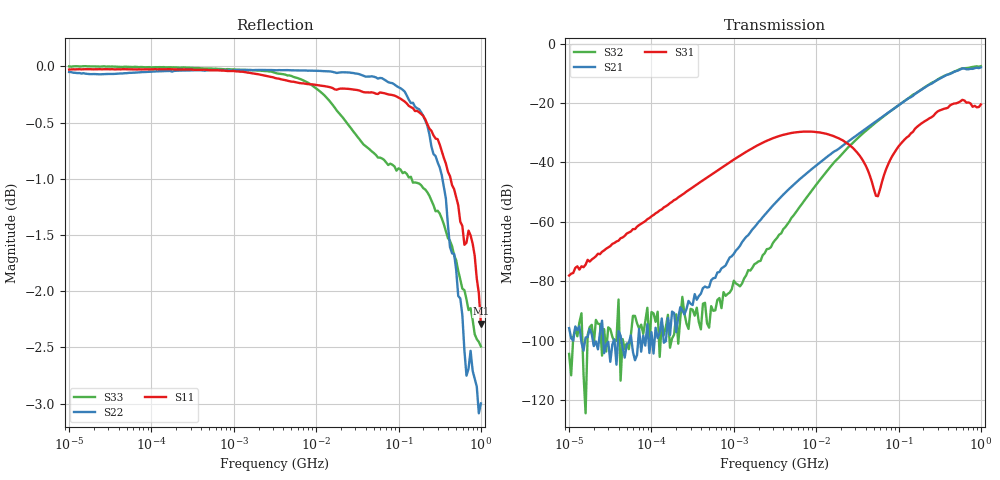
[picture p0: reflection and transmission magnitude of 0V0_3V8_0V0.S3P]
!Keysight Technologies,E5080A,MY55100144,A.11.70.03
!Date: Monday, November 13, 2017 17:25:02
!Correction: S11(Full 3 Port(1,2,3))
!S12(Full 3 Port(1,2,3))
!S13(Full 3 Port(1,2,3))
!S21(Full 3 Port(1,2,3))
!S22(Full 3 Port(1,2,3))
!S23(Full 3 Port(1,2,3))
!S31(Full 3 Port(1,2,3))
!S32(Full 3 Port(1,2,3))
!S33(Full 3 Port(1,2,3))
!S3P File: Measurements: <S11,S12,S13>,
!<S21,S22,S23>,
!<S31,S32,S33>:Log Frequency Sweep
# Hz S  RI  R 50
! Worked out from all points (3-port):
!   201 points, 10 kHz to 1 GHz, reference 50 ohm
!   strongest paths, dB at 10 kHz, 177.8 kHz, 3.162 MHz, 56.23 MHz, 1 GHz:
!     S31: -78.1, -53.3, -31.6, -51.4, -20.5
!     S21: -95.8, -90.2, -53.8, -25.7, -8.0
!     S32: -104.5, -99.3, -66.2, -26.0, -7.6
!   lowest |S11| = -2.3 dB at 1 GHz (marker M1), VSWR 7.63, Z = 381 + j0.67 ohm
!   |S11| at or under -10 dB: nowhere
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10000  0.9967 -0.00583  -7.8e-06 2.84e-06  1.58e-06 0.000124
       -1.04e-06 -1.63e-05  0.4708 -0.8757  -4.52e-06 1.12e-06
       -1.42e-06 0.000125  -4.28e-07 -5.97e-06  1 -0.00247
50118.72  0.9965 -0.0295  7.11e-07 -1.26e-05  2.48e-05 0.000634
          -8.57e-06 1.11e-06  -0.7913 -0.6  -1.52e-07 4.16e-06
          9.97e-06 0.000635  -7.08e-06 -5.54e-06  0.9996 -0.00564
562341.3  0.9435 -0.319  -6.69e-05 7.49e-05  0.00146 0.00639
          -7.54e-05 8.37e-05  -0.9946 -0.0576  -1.8e-05 4.48e-05
          0.00148 0.0064  -2.49e-06 3.17e-05  0.9961 -0.0543
3162278  0.0736 -0.9854  -0.0013 0.00159  0.0207 0.0163
         -0.00128 0.0016  -0.9962 0.00466  -0.000403 0.000267
         0.0207 0.0162  -0.000418 0.000258  0.9504 -0.2891
2.113489e7  -0.9463 -0.2451  -0.000908 0.0192  0.0187 -0.0142
            -0.000946 0.0192  -0.9891 0.0979  -0.00844 0.0116
            0.0187 -0.0141  -0.00845 0.0116  -0.0182 -0.9486
5.623413e7  -0.9702 0.0607  0.00916 0.051  0.00249 0.00108
            0.0092 0.051  -0.9531 0.2584  -0.00517 0.05
            0.00247 0.00109  -0.00511 0.0499  -0.761 -0.5005
1.059254e8  -0.9322 0.2585  0.0378 0.0893  0.00792 0.019
            0.0379 0.0894  -0.8606 0.4643  0.0233 0.0944
            0.00792 0.0189  0.0232 0.0944  -0.895 -0.091
3.758374e8  -0.3687 0.8267  0.2899 0.0331  0.0809 -0.00587
            0.2902 0.033  0.0974 0.868  0.2897 0.0577
            0.0809 -0.00593  0.2895 0.0578  -0.4869 0.6901
7.079458e8  0.464 0.7064  0.1986 -0.3127  0.0119 -0.1014
            0.1984 -0.313  0.6981 0.2258  0.2461 -0.3035
            0.012 -0.1016  0.2462 -0.3031  0.2566 0.7357
1e9  0.7682 0.00036  -0.1003 -0.385  -0.057 -0.0755
     -0.1007 -0.3851  0.5908 -0.3903  -0.0457 -0.4146
     -0.0566 -0.0756  -0.0455 -0.4145  0.6827 0.312
